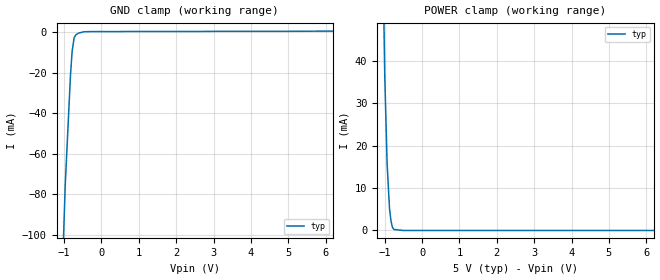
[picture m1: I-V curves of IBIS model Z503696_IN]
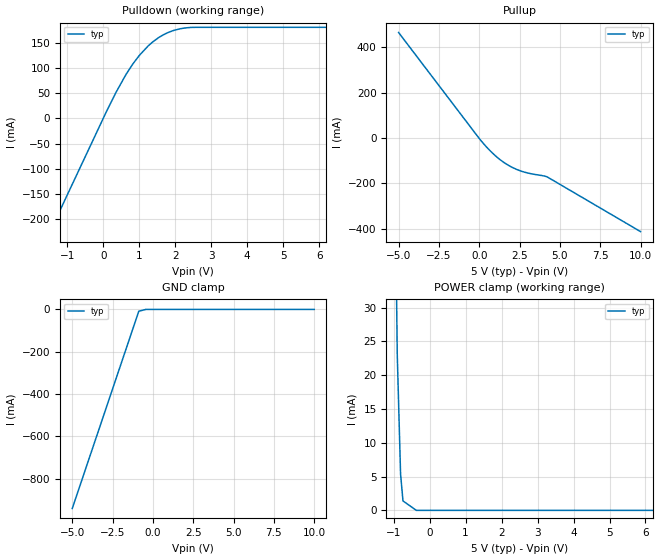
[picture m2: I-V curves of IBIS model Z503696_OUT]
| YOU ARE ONLY AUTHORIZED TO USE THIS SOFTWARE
| ACCORDING TO LICENSOR'S LICENSE RESTRICTIONS.
[IBIS Ver] 3.1
[File Name] mc74ac00n_5.ibs
[File Rev] 2.0
[Source] Measured and created by ICX Technology
[Date] Friday 7/14/00 9:07:57 AM
[Copyright]
| (C) COPYRIGHT 1993-2000
| MENTOR GRAPHICS CORPORATION
| ICX STANDARD LIBRARY, ICX PROJECT MODELING,
| ICX CUSTOM MODELING, ICX VENDOR MODEL
| ALL RIGHTS RESERVED.
| THE FOLLOWING ARE TRADEMARKS OR SERVICE MARKS OF
| MENTOR GRAPHICS CORPORATION:ICX (R), ICX STANDARD
| LIBRARY(R), ICX PROJECT MODELING(R), ICX CUSTOM
| MODELING(R), qualityIBIS(TM), MODELVIEWER(TM),
| AND MODELEDITOR(TM)
| ALL COPIES OF SOFTWARE, INCLUDING BUT NOT LIMITED TO
| ANY MODIFICATIONS, ENHANCEMENTS OR DERIVATIVE WORKS,
| MUST CONTAIN ALL MENTOR GRAPHICS CORPORATION'S
| NOTICES AND LEGENDS, INCLUDING THOSE EMBEDDED IN
| SOFTWARE AND THOSE AFFIXED TO SOFTWARE MEDIUM
| AND CONTAINER, AS RECEIVED FROM MENTOR GRAPHICS
| CORPORATION.
|  ZAP Model Builder 2.7
[Component] MC74AC00N_5
[Manufacturer] OnSemiconductor
[Package]
| variable   typ   min   max
R_pkg  .21ohms NA NA
L_pkg  4.543nH NA NA
C_pkg  1.059pF NA NA
[Pin] signal_name  model_name  R_pin  L_pin C_pin
1 1A Z503696_IN .22 6.757n 1.432p
2 1B Z503696_IN .212 4.757n 1.142p
3 1Y Z503696_OUT .204 3.257n .852p
4 2A Z503696_IN .196 2.257n .562p
5 2B Z503696_IN .204 3.257n .852p
6 2Y Z503696_OUT .212 4.757n 1.142p
7 GND GND .22 6.757n 1.432p
8 3Y Z503696_OUT .22 6.757n 1.432p
9 3A Z503696_IN .212 4.757n 1.142p
10 3B Z503696_IN .204 3.257n .852p
11 4Y Z503696_OUT .196 2.257n .562p
12 4A Z503696_IN .204 3.257n .852p
13 4B Z503696_IN .212 4.757n 1.142p
14 VCC POWER .22 6.757n 1.432p
| Models and submodels in the file (2): Z503696_IN (Input), Z503696_OUT (Output)
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| (C) COPYRIGHT 1993-2000
| MENTOR GRAPHICS CORPORATION
| ICX STANDARD LIBRARY, ICX PROJECT MODELING,
| ICX CUSTOM MODELING, ICX VENDOR MODEL
| ALL RIGHTS RESERVED.
| THE FOLLOWING ARE TRADEMARKS OR SERVICE MARKS OF
| MENTOR GRAPHICS CORPORATION:ICX (R), ICX STANDARD
| LIBRARY(R), ICX PROJECT MODELING(R), ICX CUSTOM
| MODELING(R), qualityIBIS(TM), MODELVIEWER(TM),
| AND MODELEDITOR(TM)
| ALL COPIES OF SOFTWARE, INCLUDING BUT NOT LIMITED TO
| ANY MODIFICATIONS, ENHANCEMENTS OR DERIVATIVE WORKS,
| MUST CONTAIN ALL MENTOR GRAPHICS CORPORATION'S
| NOTICES AND LEGENDS, INCLUDING THOSE EMBEDDED IN
| SOFTWARE AND THOSE AFFIXED TO SOFTWARE MEDIUM
| AND CONTAINER, AS RECEIVED FROM MENTOR GRAPHICS
| CORPORATION.
| Model Application Version 1.89 2/18/99.
[Model] Z503696_IN
Model_type Input
Vinl = 1.500V
Vinh = 3.500V
C_comp 4.000pF NA NA
| variable typ   min   max
[Voltage Range] 5.000V NA NA
[GND Clamp Reference] 0.000V NA NA
[POWER Clamp Reference] 5.000V NA NA
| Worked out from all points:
|   GND clamp passes 1 mA (typ) near -0.64 V on its own axis
|   POWER clamp passes 1 mA (typ) near -0.80 V on its own axis
[GND Clamp]
-5V       -2.337A    NA         NA
-966.8mV  -75.27mA   NA         NA
-825.5mV  -20.92mA   NA         NA
-781mV    -9.301mA   NA         NA
-728.9mV  -2.875mA   NA         NA
-685.2mV  -1.462mA   NA         NA
-610.2mV  -600.1uA   NA         NA
-468.8mV  90.82uA    NA         NA
-234.4mV  187.7uA    NA         NA
10V       691.5uA    NA         NA
[POWER Clamp]
-5V       3.531A     NA         NA
-1.23V    189.2mA    NA         NA
-1.108V   98.47mA    NA         NA
-996mV    36.26mA    NA         NA
-934mV    15.86mA    NA         NA
-869mV    5.088mA    NA         NA
-830mV    2.274mA    NA         NA
-793mV    799.7uA    NA         NA
-752mV    235.8uA    NA         NA
-501.3mV  0A         NA         NA
10V       0A         NA         NA
| (C) COPYRIGHT 1993-2000
| MENTOR GRAPHICS CORPORATION
| ICX STANDARD LIBRARY, ICX PROJECT MODELING,
| ICX CUSTOM MODELING, ICX VENDOR MODEL
| ALL RIGHTS RESERVED.
| THE FOLLOWING ARE TRADEMARKS OR SERVICE MARKS OF
| MENTOR GRAPHICS CORPORATION:ICX (R), ICX STANDARD
| LIBRARY(R), ICX PROJECT MODELING(R), ICX CUSTOM
| MODELING(R), qualityIBIS(TM), MODELVIEWER(TM),
| AND MODELEDITOR(TM)
| ALL COPIES OF SOFTWARE, INCLUDING BUT NOT LIMITED TO
| ANY MODIFICATIONS, ENHANCEMENTS OR DERIVATIVE WORKS,
| MUST CONTAIN ALL MENTOR GRAPHICS CORPORATION'S
| NOTICES AND LEGENDS, INCLUDING THOSE EMBEDDED IN
| SOFTWARE AND THOSE AFFIXED TO SOFTWARE MEDIUM
| AND CONTAINER, AS RECEIVED FROM MENTOR GRAPHICS
| CORPORATION.
| Model Application Version 1.89 2/18/99.
[Model] Z503696_OUT
Model_type Output
Vref=0.000V
Rref=500.0ohms
Cref=50.00pF
Vmeas=2.500V
C_comp 8.000pF NA NA
| variable typ   min   max
[Voltage Range] 5.000V NA NA
[POWER Clamp Reference] 5.000V NA NA
[Pullup Reference] 5.000V NA NA
[Pulldown Reference] 0.000V NA NA
[GND Clamp Reference] 0.000V NA NA
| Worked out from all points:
|   slope of the pulldown table from 0 to 0.75 V, typ, clamps not added: 7.51 ohm
|   slope of the pullup table from 0 to 0.75 V, typ, clamps not added: 12.6 ohm
[GND Clamp]
-5V       -941.6mA   NA         NA
-875.6mV  -8.527mA   NA         NA
-437.8mV  0A         NA         NA
10V       0A         NA         NA
[Pulldown]
-5V       -759.7mA   NA         NA
90.98mV   14.27mA    NA         NA
351.6mV   51.6mA     NA         NA
630.1mV   87.26mA    NA         NA
825.3mV   108.6mA    NA         NA
1.007V    125.6mA    NA         NA
1.377V    152.1mA    NA         NA
1.548V    161mA      NA         NA
1.797V    170.5mA    NA         NA
2.149V    178.2mA    NA         NA
2.468V    180.8mA    NA         NA
10V       180.9mA    NA         NA
[Pullup]
-5V       465.3mA    NA         NA
36mV      -5.596mA   NA         NA
700mV     -58.33mA   NA         NA
1.26V     -94.1mA    NA         NA
1.807V    -120.6mA   NA         NA
2.349V    -139.6mA   NA         NA
2.832V    -151.2mA   NA         NA
4.213V    -171.7mA   NA         NA
10V       -413.1mA   NA         NA
[POWER Clamp]
-5V       2.438A     NA         NA
-1.089V   107.7mA    NA         NA
-901mV    23.09mA    NA         NA
-809mV    5.382mA    NA         NA
-742mV    1.396mA    NA         NA
-371mV    0A         NA         NA
10V       0A         NA         NA
[Ramp]
| variable typ min max
dV/dt_r 2.950/416.0p NA NA
dV/dt_f 2.950/667.1p NA NA
R_load = 500.0Ohms
